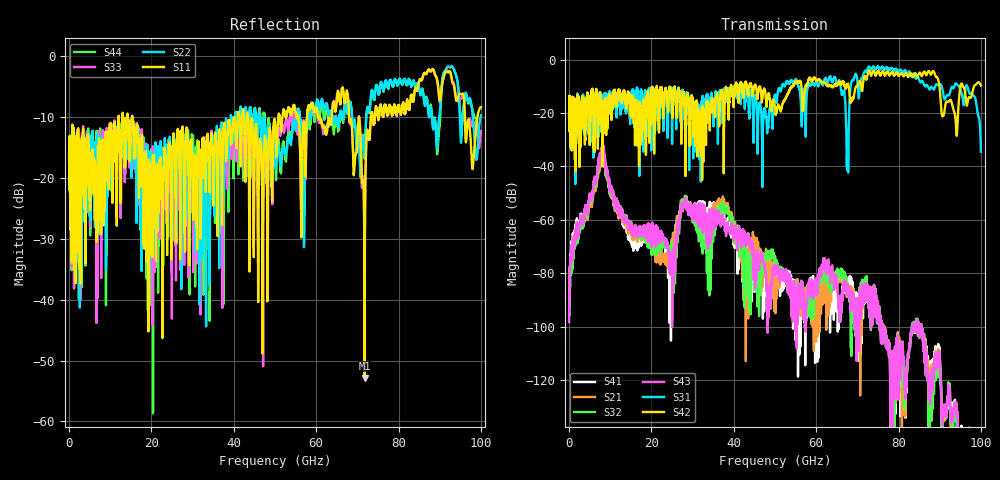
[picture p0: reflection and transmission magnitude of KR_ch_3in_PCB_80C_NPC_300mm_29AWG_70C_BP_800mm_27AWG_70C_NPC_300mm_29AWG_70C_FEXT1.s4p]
# GHz S RI R 45
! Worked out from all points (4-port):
!   4000 points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, 25 MHz to 100 GHz, reference 45 ohm
!   strongest paths, dB at 25 MHz, 25.02 GHz, 50.02 GHz, 75.03 GHz, 100 GHz:
!     S42: -20.0, -17.9, -18.0, -4.4, -9.7
!     S31: -20.0, -31.6, -13.2, -2.6, -34.5
!     S43: -98.3, -100.0, -78.4, -93.9, -155.6
!     S32: -95.2, -75.7, -73.8, -94.0, -160.2
!     S21: -89.0, -69.7, -81.4, -93.9, -161.9
!     S41: -95.8, -72.9, -81.2, -94.0, -160.9
!   lowest |S11| = -52.8 dB at 71.78 GHz (marker M1), VSWR 1.00, Z = 45.1 + j0.18 ohm
!   |S11| at or under -10 dB: start of sweep to 12.07 GHz; 15.35 GHz to 40.11 GHz (24.76 GHz wide, 89.3 % of centre); 43.48 GHz to 50.82 GHz (7.339 GHz wide, 15.6 % of centre) (the widest 3 of 25)
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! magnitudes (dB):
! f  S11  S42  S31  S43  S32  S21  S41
! 25 MHz  -16.0  -20.0  -20.0  -98.3  -95.2  -89.0  -95.8
! 8.1 GHz  -25.2  -22.7  -20.3  -32.4  -33.8  -35.1  -33.7
! 24.35 GHz  -15.0  -13.7  -12.1  -78.7  -74.2  -75.4  -87.0
! 28.27 GHz  -15.7  -43.7  -16.1  -53.2  -52.7  -52.5  -52.9
! 67.58 GHz  -6.1  -9.6  -41.5  -84.2  -83.4  -85.4  -82.9
! 71.78 GHz  -52.8  -6.3  -4.4  -86.1  -83.0  -83.7  -86.7
! 100 GHz  -8.4  -9.7  -34.5  -155.6  -160.2  -161.9  -160.9
